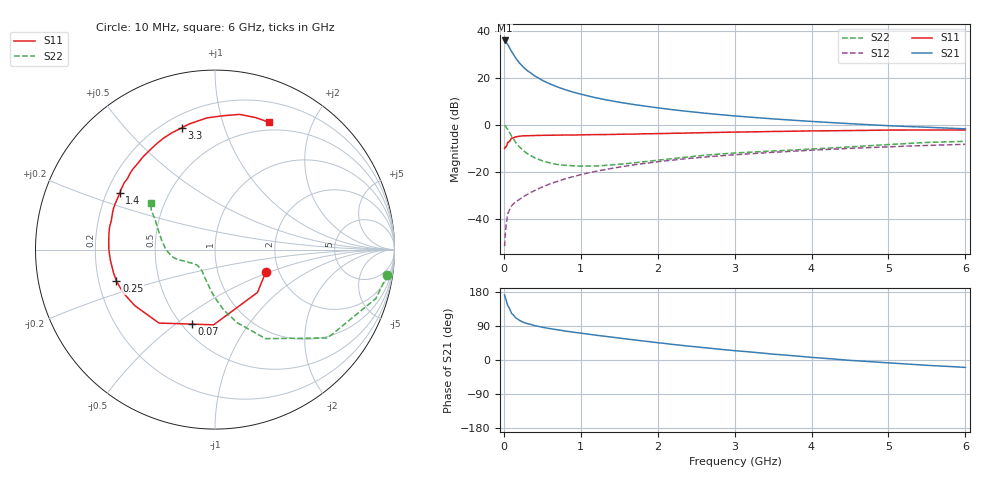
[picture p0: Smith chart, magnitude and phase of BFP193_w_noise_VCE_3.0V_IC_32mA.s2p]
! (c) 2017  Infineon Technologies AG, Munich
! Infineon Technologies  Discrete & RF Semiconductors
! BFP193
! VCE =  3.0 V,  IC =  32 mA
! Common Emitter S-Parameters:  Jan 2017
# GHz  S  MA  R  50
!  f  S11  S21  S12  S22
! GHz  MAG  ANG  MAG  ANG  MAG  ANG  MAG  ANG
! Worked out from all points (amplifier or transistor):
!   77 points, 10 MHz to 6 GHz, reference 50 ohm
!   highest |S21| = 35.8 dB at 10 MHz (marker M1)
!   |S21| within 3 dB of that: start of sweep to 72.09 MHz
!   unconditionally stable (mu >= 1): 678.9 MHz to 2.485 GHz
!   at 130 MHz: K = 0.51, MSG = 31.6 dB, |S12| = -33.6 dB
!   at 2.2 GHz: K = 1.01, MAG = 10.0 dB, |S12| = -15.1 dB
!   at 6 GHz: K = 0.93, MSG = 3.3 dB, |S12| = -8.4 dB
!   lowest NFmin = 1.24 dB at 450 MHz
!   S11 on the Smith chart (normalised r, x): 10 MHz: 1.71, -0.47; 70 MHz: 0.56, -0.57; 250 MHz: 0.27, -0.14; 1.4 GHz: 0.25, +0.26; 3.3 GHz: 0.27, +0.73; 6 GHz: 0.41, +1.43
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0.01  0.3093 -23.9  61.58 171.6  0.0026 84.8  0.9708 -8.3
0.02  0.3361 -45.2  60.49 163.9  0.005 81.2  0.9368 -16.9
0.05  0.4191 -91.0  50.81 143.6  0.0125 64.8  0.7978 -38.1
0.07  0.4348 -107.3  44.24 137.1  0.0149 61.0  0.6953 -45.3
0.1  0.5147 -127.3  35.95 123.1  0.0187 57.1  0.5706 -60.4
0.15  0.5456 -145.2  26.47 112.0  0.0226 54.2  0.426 -73.1
0.2  0.5661 -155.1  20.72 105.0  0.0254 56.4  0.34 -81.8
0.25  0.5765 -162.4  16.91 99.8  0.0291 56.9  0.2836 -87.9
0.3  0.5801 -167.3  14.24 96.3  0.0325 58.8  0.2442 -93.4
0.4  0.5863 -174.6  10.86 90.7  0.0397 61.6  0.1968 -101.6
0.5  0.5914 179.7  8.73 86.4  0.0471 63.7  0.1698 -108.7
0.6  0.594 175.3  7.324 82.8  0.055 63.9  0.1526 -114.9
0.7  0.5976 171.5  6.289 79.7  0.0622 64.8  0.1414 -119.9
0.9  0.5997 164.4  4.906 73.6  0.0781 64.6  0.1334 -128.5
1.1  0.61 158.1  4.044 68.2  0.0942 63.5  0.1316 -135.6
1.4  0.6174 149.2  3.205 60.4  0.117 61.1  0.1394 -144.8
2.1  0.648 130.3  2.169 43.5  0.1693 53.0  0.1821 -159.2
3.1  0.6959 108.7  1.485 23.0  0.2338 40.5  0.254 -174.5
3.3  0.704 105.1  1.401 19.4  0.2454 38.2  0.2642 -177.8
4.1  0.7366 92.1  1.143 5.5  0.2906 28.8  0.3086 167.8
5.1  0.7658 78.3  0.932 -8.8  0.3415 17.4  0.3845 152.0
6  0.7707 67.1  0.813 -19.5  0.3816 7.4  0.4415 144.3
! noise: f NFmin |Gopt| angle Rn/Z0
0.45  1.24  0.35  -173  0.08
0.9  1.3  0.39  -171  0.07
1.9  1.92  0.58  -136  0.17
2.4  2.25  0.62  -121  0.38
